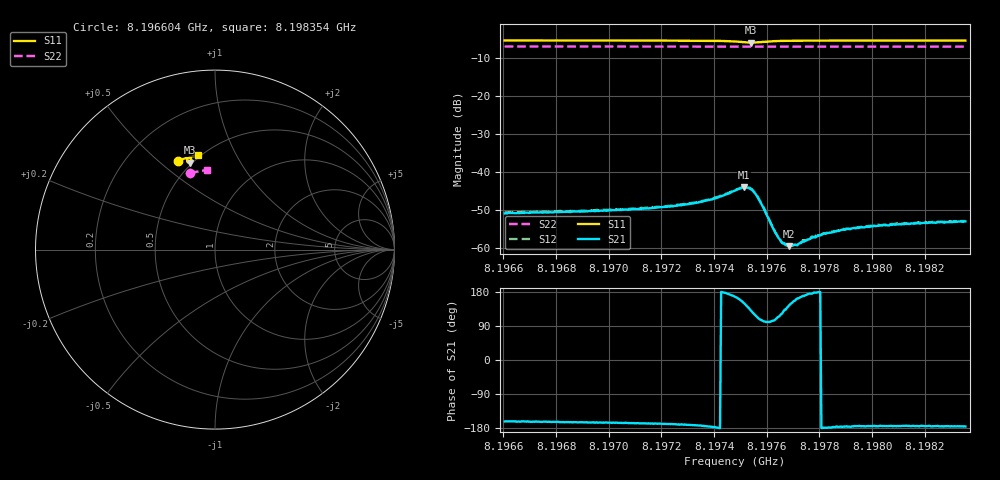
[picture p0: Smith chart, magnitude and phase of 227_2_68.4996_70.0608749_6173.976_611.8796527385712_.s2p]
#  HZ  S  RI  R  50.00
! Rohde & Schwarz Vector Network Analyzer
! Rohde-Schwarz,ZNB20-2Port,1311601062101988,3.16
! Created: UTC 3/20/2024, 5:13:54 PM
! freq[Hz]  re:S11  im:S11  re:S21  im:S21  re:S12  im:S12  re:S22  im:S22
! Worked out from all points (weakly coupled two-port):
!   401 points, 8.196604 GHz to 8.198354 GHz, reference 50 ohm
!   highest |S21| = -44.05 dB at 8.197514 GHz (marker M1); lowest = -59.5 dB at 8.197685 GHz (marker M2)
!   lowest |S11| = -6.0 dB at 8.197541 GHz (marker M3), VSWR 3.02, Z = 24.4 + j31.6 ohm
!   |S11| at or under -10 dB: nowhere
!   |S22| runs from -7.1 to -7.0 dB; largest |S21 - S12| = 0.00032
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8.1966043e9  -0.2083 0.4943  -0.00271 -0.000863  -0.00281 -0.000806  -0.1399 0.4245
8.1968974e9  -0.1879 0.5018  -0.00294 -0.00083  -0.00303 -0.000707  -0.1241 0.4289
8.1970506e9  -0.1768 0.5056  -0.00309 -0.000765  -0.00314 -0.000657  -0.1157 0.4311
8.1971906e9  -0.1659 0.5086  -0.00335 -0.000725  -0.00342 -0.000601  -0.1078 0.4328
8.1972781e9  -0.1584 0.5101  -0.0036 -0.000639  -0.00369 -0.00047  -0.103 0.4338
8.1973568e9  -0.1504 0.511  -0.00406 -0.000448  -0.00415 -0.000277  -0.0986 0.4346
8.1974093e9  -0.1436 0.5104  -0.00456 -0.000122  -0.00463 6.58e-05  -0.0956 0.4352
8.1974793e9  -0.1325 0.5031  -0.00555 0.00128  -0.0056 0.00154  -0.0916 0.4357
8.1975143e9  -0.1306 0.492  -0.00541 0.00318  -0.00537 0.00344  -0.0896 0.4357
8.1975406e9  -0.1385 0.4836  -0.00378 0.00452  -0.0037 0.00476  -0.0886 0.4356
8.1975537e9  -0.1448 0.4832  -0.00265 0.0046  -0.00251 0.00481  -0.0879 0.4358
8.1975712e9  -0.1517 0.4865  -0.00134 0.00406  -0.00123 0.0042  -0.0872 0.4361
8.1976237e9  -0.1546 0.5018  -0.00043 0.00176  -0.000367 0.00185  -0.0844 0.437
8.1976499e9  -0.152 0.5065  -0.000588 0.00115  -0.000514 0.00118  -0.0829 0.4374
8.1976674e9  -0.15 0.5087  -0.000775 0.000836  -0.000695 0.000908  -0.0819 0.4375
8.1976849e9  -0.1482 0.5103  -0.000853 0.00062  -0.000846 0.000696  -0.081 0.4377
8.1977024e9  -0.1462 0.5117  -0.000995 0.000452  -0.000998 0.000469  -0.0799 0.4378
8.1977724e9  -0.1393 0.5154  -0.00136 0.000108  -0.00141 0.000146  -0.0758 0.4385
8.1978206e9  -0.1348 0.5171  -0.00155 -3.42e-05  -0.00156 3.3e-05  -0.0731 0.4389
8.197895e9  -0.1286 0.5191  -0.00175 -0.000129  -0.00175 -0.000101  -0.0688 0.4396
8.1980656e9  -0.1151 0.5225  -0.00197 -0.000197  -0.00207 -0.000103  -0.0592 0.4404
8.1983543e9  -0.0938 0.5265  -0.00223 -0.000176  -0.00226 -6.39e-05  -0.043 0.442
